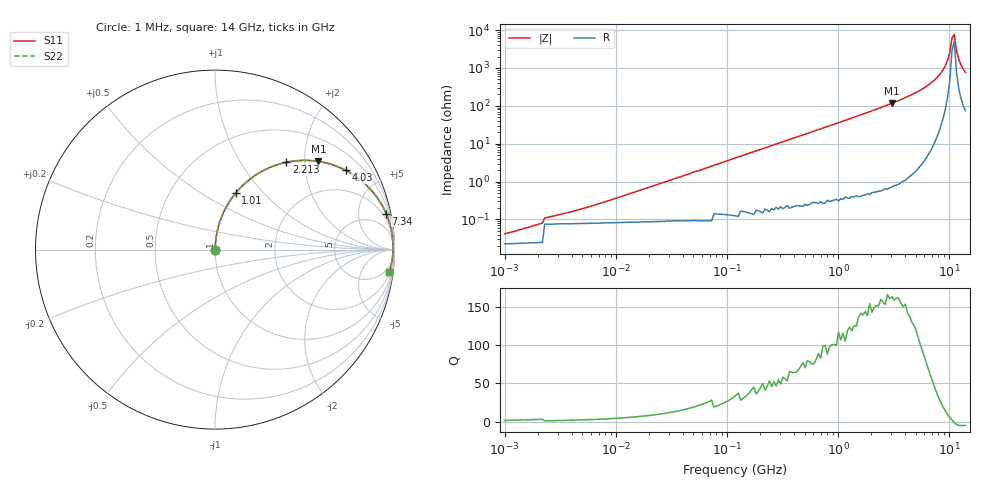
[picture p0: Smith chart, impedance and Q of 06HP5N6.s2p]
# MHz S MA R 50
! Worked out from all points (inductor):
!   208 points, 1 MHz to 14 GHz, reference 50 ohm
!   read as one part in series: L = 5.6 nH near 2.19 MHz
!   highest Q = 161 at 3.056 GHz (marker M1), where L = 6.07 nH
!   self-resonance near 10.62 GHz
!   S11 on the Smith chart (normalised r, x): 1 MHz: 1.00, +0.00; 1.01 GHz: 1.01, +0.72; 2.213 GHz: 1.01, +1.62; 4.03 GHz: 1.02, +3.29; 7.34 GHz: 1.20, +9.43; 14 GHz: 3, -15
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1  0.0005733 37.8  1 -0.0  1 -0.0  0.0005733 37.8
2.092  0.0008862 56.1  1 -0.0  1 -0.0  0.0008862 56.1
5.024  0.001856 72.1  0.999 -0.1  0.999 -0.1  0.001856 72.1
25.239  0.008911 84.2  0.999 -0.5  0.999 -0.5  0.008911 84.2
121.082  0.043 85.7  0.998 -2.4  0.998 -2.4  0.043 85.7
580.879  0.2 77.7  0.977 -11.6  0.977 -11.6  0.2 77.7
1010.277  0.337 69.8  0.939 -19.7  0.939 -19.7  0.337 69.8
1461.092  0.462 62.0  0.883 -27.5  0.883 -27.5  0.462 62.0
2212.809  0.628 50.7  0.774 -38.9  0.774 -38.9  0.628 50.7
2918.243  0.739 42.0  0.669 -47.7  0.669 -47.7  0.739 42.0
3055.984  0.757 40.4  0.649 -49.2  0.649 -49.2  0.757 40.4
4030.22  0.852 31.2  0.519 -58.4  0.519 -58.4  0.852 31.2
5828.618  0.941 19.1  0.328 -70.2  0.328 -70.2  0.941 19.1
7340.296  0.974 11.9  0.207 -76.8  0.207 -76.8  0.974 11.9
8429.511  0.986 7.7  0.134 -80.0  0.134 -80.0  0.986 7.7
9244.035  0.99 4.9  0.086 -81.0  0.086 -81.0  0.99 4.9
10137.26  0.992 2.2  0.039 -77.2  0.039 -77.2  0.992 2.2
10615.74  0.992 0.8  0.016 -61.0  0.016 -61.0  0.992 0.8
11116.81  0.992 -0.5  0.013 48.2  0.013 48.2  0.992 -0.5
11641.52  0.99 -1.9  0.034 72.9  0.034 72.9  0.99 -1.9
12191  0.989 -3.3  0.058 77.0  0.058 77.0  0.989 -3.3
14000  0.979 -7.4  0.129 77.1  0.129 77.1  0.979 -7.4
